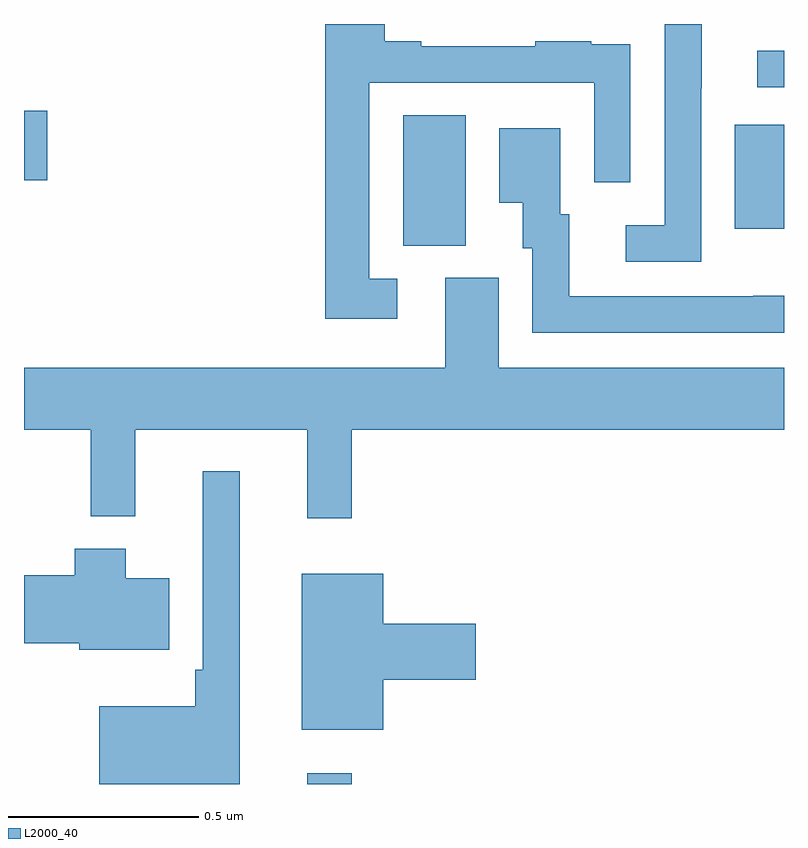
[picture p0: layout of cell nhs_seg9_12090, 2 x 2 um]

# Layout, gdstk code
import gdstk
lib = gdstk.Library(unit=1e-6, precision=1e-09)
def R(c, l, rs):  # rectangles x0, y0, x1, y1
    for r in rs: c.add(gdstk.rectangle(r[:2], r[2:], *l))
def P(c, l, *ps):  # polygons
    for p in ps: c.add(gdstk.Polygon(p, *l))
L2000_40 = (2000, 40)

nhs_seg9_12090 = lib.new_cell('nhs_seg9_12090')
R(nhs_seg9_12090, L2000_40, [(264.746,1183.5,264.863,1183.528), (264.998,1184.917,265.162,1185.26), (265.871,1184.961,266,1185.235), (264,1185.089,264.061,1185.272), (265.929,1185.333,266,1185.429)])
P(nhs_seg9_12090, L2000_40, [(264.982,1184.829),(264.909,1184.829),(264.909,1185.345),(265.5,1185.345),(265.5,1185.084),(265.596,1185.084),(265.596,1185.338),(265.595,1185.338),(265.595,1185.447),(265.493,1185.447),(265.493,1185.454),(265.345,1185.454),(265.345,1185.441),(265.045,1185.441),(265.045,1185.454),(264.949,1185.454),(264.949,1185.5),(264.793,1185.5),(264.793,1184.724),(264.982,1184.724)],
  [(265.782,1185.331),(265.783,1185.331),(265.783,1185.5),(265.686,1185.5),(265.686,1184.97),(265.584,1184.97),(265.584,1184.874),(265.782,1184.874)],
  [(266,1184.785),(265.919,1184.785),(265.919,1184.784),(265.435,1184.784),(265.435,1185),(265.411,1185),(265.411,1185.226),(265.25,1185.226),(265.25,1185.029),(265.313,1185.029),(265.313,1184.91),(265.338,1184.91),(265.338,1184.688),(266,1184.688)],
  [(264.863,1184.432),(266,1184.432),(266,1184.596),(265.249,1184.596),(265.249,1184.832),(265.109,1184.832),(265.109,1184.596),(264,1184.596),(264,1184.432),(264.175,1184.432),(264.175,1184.204),(264.293,1184.204),(264.293,1184.432),(264.746,1184.432),(264.746,1184.199),(264.863,1184.199)],
  [(264.568,1184.323),(264.471,1184.323),(264.471,1183.801),(264.451,1183.801),(264.451,1183.705),(264.198,1183.705),(264.198,1183.5),(264.568,1183.5)],
  [(264.382,1184.041),(264.268,1184.041),(264.268,1184.119),(264.134,1184.119),(264.134,1184.049),(264,1184.049),(264,1183.871),(264.146,1183.871),(264.146,1183.853),(264.382,1183.853)],
  [(264.946,1183.775),(265.189,1183.775),(265.189,1183.922),(264.946,1183.922),(264.946,1184.053),(264.731,1184.053),(264.731,1183.643),(264.946,1183.643)])

lib.write_gds('nhs_seg9_12090.gds')
